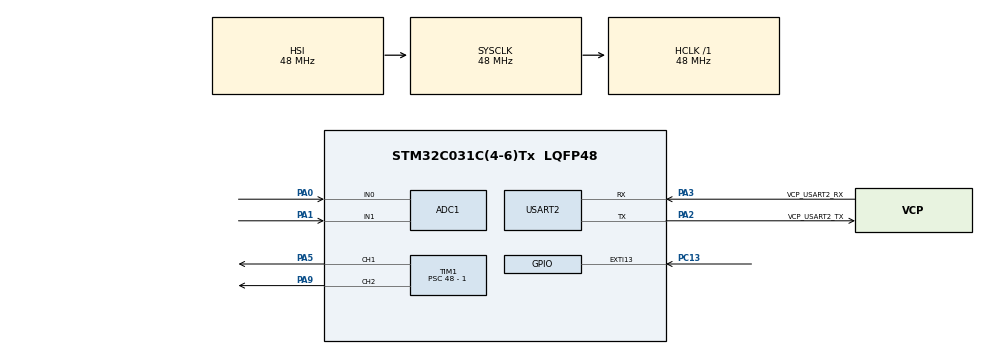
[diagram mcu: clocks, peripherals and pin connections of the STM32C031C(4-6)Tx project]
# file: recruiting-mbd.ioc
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ADC1.ContinuousConvMode=ENABLE
ADC1.DMAContinuousRequests=ENABLE
ADC1.NbrOfConversionFlag=0
ADC1.Overrun=ADC_OVR_DATA_OVERWRITTEN
ADC1.SelectedChannel=ADC_CHANNEL_0|ADC_CHANNEL_1
ADC1.Sequencer=NOT_FULLY_CONFIGURABLE
ADC1.master=1
Dma.ADC1.0.Direction=DMA_PERIPH_TO_MEMORY
Dma.ADC1.0.EventEnable=DISABLE
Dma.ADC1.0.Instance=DMA1_Channel1
Dma.ADC1.0.MemDataAlignment=DMA_MDATAALIGN_HALFWORD
Dma.ADC1.0.MemInc=DMA_MINC_ENABLE
Dma.ADC1.0.Mode=DMA_CIRCULAR
Dma.ADC1.0.PeriphDataAlignment=DMA_PDATAALIGN_HALFWORD
Dma.ADC1.0.PeriphInc=DMA_PINC_DISABLE
Dma.ADC1.0.Polarity=HAL_DMAMUX_REQ_GEN_RISING
Dma.ADC1.0.Priority=DMA_PRIORITY_LOW
Dma.ADC1.0.RequestNumber=1
Dma.ADC1.0.SignalID=NONE
Dma.ADC1.0.SyncEnable=DISABLE
Dma.ADC1.0.SyncPolarity=HAL_DMAMUX_SYNC_NO_EVENT
Dma.ADC1.0.SyncRequestNumber=1
Dma.ADC1.0.SyncSignalID=NONE
Dma.Request0=ADC1
Mcu.Family=STM32C0
Mcu.Name=STM32C031C(4-6)Tx
Mcu.Package=LQFP48
NVIC.EXTI4_15_IRQn=true\:0\:0\:false\:false\:true\:true\:true\:true
NVIC.TIM14_IRQn=true\:0\:0\:false\:false\:true\:true\:true\:true
NVIC.USART2_IRQn=true\:0\:0\:false\:false\:true\:true\:true\:true
PA0.Mode=IN0
PA0.Signal=ADC1_IN0
PA1.Mode=IN1
PA1.Signal=ADC1_IN1
PA13.GPIO_Label=DEBUG_SWDIO
PA13.Signal=DEBUG_SWDIO
PA14-BOOT0.GPIO_Label=DEBUG_SWCLK
PA14-BOOT0.Signal=DEBUG_SWCLK
PA2.GPIO_Label=VCP_USART2_TX
PA2.Mode=Asynchronous
PA2.Signal=USART2_TX
PA3.GPIO_Label=VCP_USART2_RX
PA3.Mode=Asynchronous
PA3.Signal=USART2_RX
PA5.Signal=S_TIM1_CH1
PA9.Signal=S_TIM1_CH2
PC13.GPIO_ModeDefaultEXTI=GPIO_MODE_IT_FALLING
PC13.Signal=GPXTI13
PC14-OSCX_IN\ (PC14).GPIO_Label=RCC_OSCX_IN
PC14-OSCX_IN\ (PC14).Mode=LSE-External-Oscillator
PC14-OSCX_IN\ (PC14).Signal=RCC_OSCX_IN
PC15-OSCX_OUT\ (PC15).GPIO_Label=RCC_OSCX_OUT
PC15-OSCX_OUT\ (PC15).Mode=LSE-External-Oscillator
PC15-OSCX_OUT\ (PC15).Signal=RCC_OSCX_OUT
PF0-OSC_IN\ (PF0).GPIO_Label=RCC_OSC_IN
PF0-OSC_IN\ (PF0).Signal=RCC_OSC_IN
PF1-OSC_OUT\ (PF1).GPIO_Label=RCC_OSC_OUT
PF1-OSC_OUT\ (PF1).Signal=RCC_OSC_OUT
ProjectManager.HeapSize=0x200
ProjectManager.StackSize=0x400
ProjectManager.TargetToolchain=Makefile
RCC.ADCFreq_Value=48000000
RCC.AHBFreq_Value=48000000
RCC.CortexFreq_Value=48000000
RCC.EXTERNAL_CLOCK_VALUE=12288000
RCC.HCLKFreq_Value=48000000
RCC.HSE_VALUE=48000000
RCC.HSISYSCLKDivider=RCC_HSI_DIV1
RCC.HSI_VALUE=48000000
RCC.SYSCLKFreq_VALUE=48000000
SH.S_TIM1_CH1.0=TIM1_CH1,PWM Generation1 CH1
SH.S_TIM1_CH2.0=TIM1_CH2,PWM Generation2 CH2
TIM1.Channel-PWM\ Generation1\ CH1=TIM_CHANNEL_1
TIM1.Channel-PWM\ Generation2\ CH2=TIM_CHANNEL_2
TIM1.Period=1000 - 1
TIM1.Prescaler=48 - 1
TIM14.Period=1000 - 1
TIM14.Prescaler=48 - 1
USART2.VirtualMode-Asynchronous=VM_ASYNC
VP_TIM14_VS_ClockSourceINT.Mode=Enable_Timer
VP_TIM1_VS_ClockSourceINT.Mode=Internal
board=NUCLEO-C031C6

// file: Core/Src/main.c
/* USER CODE BEGIN Header */
/**
  ******************************************************************************
  * @file           : main.c
  * @brief          : Main program body
  ******************************************************************************
  * @attention
  *
  * Copyright (c) 2026 STMicroelectronics.
  * All rights reserved.
  *
  * This software is licensed under terms that can be found in the LICENSE file
  * in the root directory of this software component.
  * If no LICENSE file comes with this software, it is provided AS-IS.
  *
  ******************************************************************************
  */
/* USER CODE END Header */
#include "main.h"
#include "adc.h"
#include "dma.h"
#include "tim.h"
#include "usart.h"
#include "gpio.h"

/* USER CODE BEGIN Includes */

#include <stdint.h>
#include <string.h>
#include <sys/_intsup.h>

#include "conversions-api.h"
#include "filters-api.h"
#include "fsm-api.h"

/* USER CODE END Includes */

/* USER CODE BEGIN PV */

 uint16_t buffer_adc[2]; /*!< DMA buffer for ADC readings: POT at index 0, NTC at index 1 */

 struct SystemContext sys_ctx = {
    .adc_buffer = buffer_adc,
    .active_filter = 0,
    .tick_ms = 0,
    .btn_pressed = 0,
    .cli_buffer = {0},
    .cli_index = 0,
    .error_msg = "Unknown error"
 };

/* USER CODE END PV */

void SystemClock_Config(void);

int main(void)
{

  /* MCU Configuration--------------------------------------------------------*/

  /* Reset of all peripherals, Initializes the Flash interface and the Systick. */
  HAL_Init();

  /* Configure the system clock */
  SystemClock_Config();

  /* Initialize all configured peripherals */
  MX_GPIO_Init();
  MX_DMA_Init();
  MX_USART2_UART_Init();
  MX_ADC1_Init();
  MX_TIM1_Init();
  MX_TIM14_Init();
  /* USER CODE BEGIN 2 */
  if (system_fsm_init() != FSM_RC_OK) {
      Error_Handler();
  }

  if (HAL_ADCEx_Calibration_Start(&hadc1) != HAL_OK) {
      sys_ctx.error_msg = "HAL Error: ADC Calibration failed";
      system_fsm_transition_to(STATE_FATAL);
  }

  if (HAL_ADC_Start_DMA(&hadc1, (uint32_t*)buffer_adc, 2) != HAL_OK) {
      sys_ctx.error_msg = "HAL Error: ADC DMA start failed";
      system_fsm_transition_to(STATE_FATAL);
  }

  if (HAL_TIM_Base_Start_IT(&htim14) != HAL_OK) {
      sys_ctx.error_msg = "HAL Error: TIM14 IT start failed";
      system_fsm_transition_to(STATE_FATAL);
  }

  if (HAL_TIM_PWM_Start(&htim1, TIM_CHANNEL_1) != HAL_OK ||
      HAL_TIM_PWM_Start(&htim1, TIM_CHANNEL_2) != HAL_OK) {
      sys_ctx.error_msg = "HAL Error: TIM1 PWM start failed";
      system_fsm_transition_to(STATE_FATAL);
  }

  HAL_Delay(10);

  /* USER CODE END 2 */

  /* Infinite loop */
  while (1)
  {

    /* USER CODE BEGIN 3 */
    system_fsm_run(&sys_ctx);
  }
}

  /* USER CODE END 3 */

void SystemClock_Config(void)
{
  RCC_OscInitTypeDef RCC_OscInitStruct = {0};
  RCC_ClkInitTypeDef RCC_ClkInitStruct = {0};

  __HAL_FLASH_SET_LATENCY(FLASH_LATENCY_1);

  /** Initializes the RCC Oscillators according to the specified parameters
  * in the RCC_OscInitTypeDef structure.
  */
  RCC_OscInitStruct.OscillatorType = RCC_OSCILLATORTYPE_HSI;
  RCC_OscInitStruct.HSIState = RCC_HSI_ON;
  RCC_OscInitStruct.HSIDiv = RCC_HSI_DIV1;
  RCC_OscInitStruct.HSICalibrationValue = RCC_HSICALIBRATION_DEFAULT;
  if (HAL_RCC_OscConfig(&RCC_OscInitStruct) != HAL_OK)
  {
    Error_Handler();
  }

  /** Initializes the CPU, AHB and APB buses clocks
  */
  RCC_ClkInitStruct.ClockType = RCC_CLOCKTYPE_HCLK|RCC_CLOCKTYPE_SYSCLK
                              |RCC_CLOCKTYPE_PCLK1;
  RCC_ClkInitStruct.SYSCLKSource = RCC_SYSCLKSOURCE_HSI;
  RCC_ClkInitStruct.SYSCLKDivider = RCC_SYSCLK_DIV1;
  RCC_ClkInitStruct.AHBCLKDivider = RCC_HCLK_DIV1;
  RCC_ClkInitStruct.APB1CLKDivider = RCC_APB1_DIV1;

  if (HAL_RCC_ClockConfig(&RCC_ClkInitStruct, FLASH_LATENCY_1) != HAL_OK)
  {
    Error_Handler();
  }
}

/* USER CODE BEGIN 4 */

void HAL_GPIO_EXTI_Falling_Callback(uint16_t GPIO_Pin)
{
  if (GPIO_Pin == GPIO_PIN_13)
  {
    sys_ctx.btn_pressed = 1;
  }
}

void HAL_TIM_PeriodElapsedCallback(TIM_HandleTypeDef *htim)
{
  if (htim->Instance == TIM14)
  {
    sys_ctx.tick_ms++;
  }
}

/* USER CODE END 4 */

void Error_Handler(void)
{
  __disable_irq();
  while (1)
  {
  }
}
